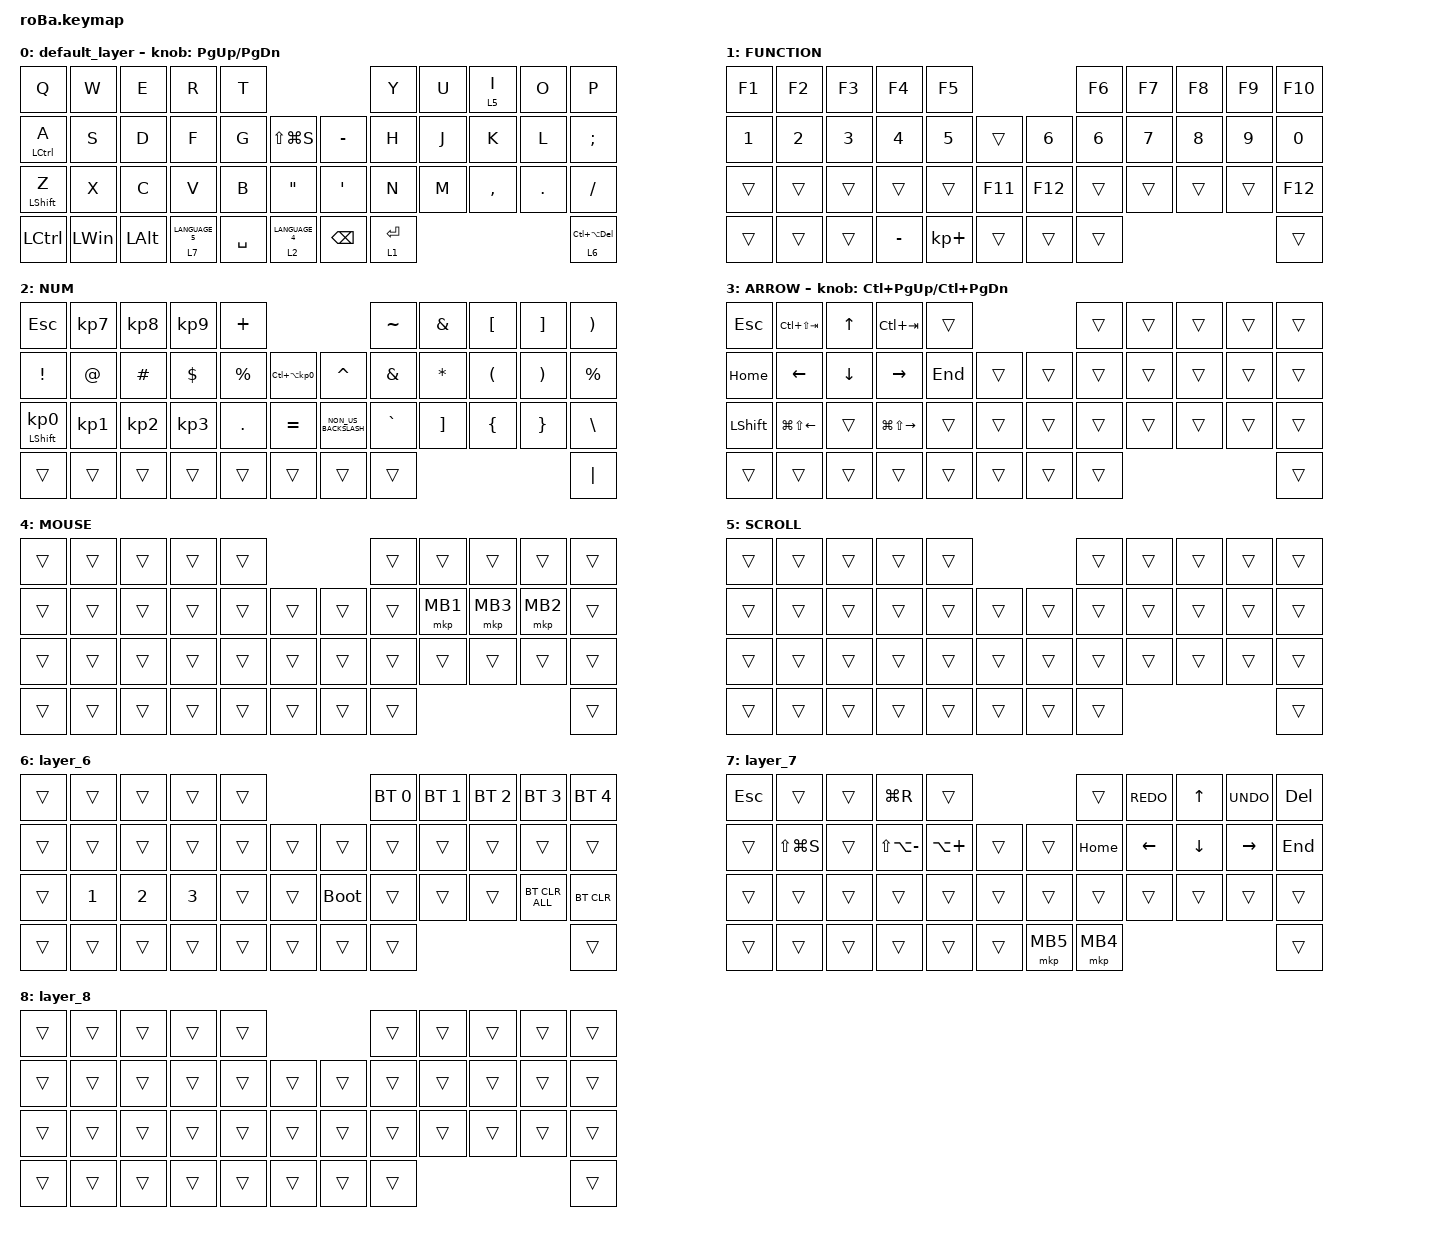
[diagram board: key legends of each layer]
#include <behaviors.dtsi>
#include <dt-bindings/zmk/bt.h>
#include <dt-bindings/zmk/keys.h>
#include <dt-bindings/zmk/pointing.h>

&mt {
    flavor = "balanced";
    quick-tap-ms = <0>;
};

&trackball {
    automouse-layer = <4>;
    scroll-layers = <5>;

    // arrows {
    //     layers = <3>;
    //     bindings =
    //         <&kp RIGHT_ARROW>,
    //         <&kp LEFT_ARROW>,
    //         <&kp UP_ARROW>,
    //         <&kp DOWN_ARROW>;
    //     tick = <10>;
    //     wait-ms = <5>;
    //     tap-ms = <5>;
    // };
};

/ {
    combos {
        compatible = "zmk,combos";

        tab {
            bindings = <&kp TAB>;
            key-positions = <11 12>;
        };

        shift_tab {
            bindings = <&kp LS(TAB)>;
            key-positions = <12 13>;
        };

        muhennkann {
            bindings = <&to_layer_0 INT_MUHENKAN>;
            key-positions = <11 10>;
        };

        double_quotation {
            bindings = <&kp DOUBLE_QUOTES>;
            key-positions = <20 21>;
        };

        eq {
            bindings = <&kp EQUAL>;
            key-positions = <24 25>;
        };

        copy {
            bindings = <&kp LC(C)>;
            key-positions = <4 10>;
        };

        right {
            bindings = <&kp RIGHT_ARROW>;
            key-positions = <10 13>;
        };

        left {
            bindings = <&kp LEFT_ARROW>;
            key-positions = <10 26>;
        };
    };

    macros {
        to_layer_0: to_layer_0 {
            compatible = "zmk,behavior-macro-one-param";
            #binding-cells = <1>;
            bindings = <&to 0 &macro_param_1to1 &kp MACRO_PLACEHOLDER>;
            label = "TO_LAYER_0";
        };
    };

    behaviors {
        lt_to_layer_0: lt_to_layer_0 {
            compatible = "zmk,behavior-hold-tap";
            label = "LAYER_TAP_TO_0";
            bindings = <&mo>, <&to_layer_0>;

            #binding-cells = <2>;
            tapping-term-ms = <200>;
        };
    };

    keymap {
        compatible = "zmk,keymap";

        default_layer {
            bindings = <
&kp Q             &kp W         &kp E         &kp R             &kp T                                            &kp Y        &kp U  &lt 5 I    &kp O    &kp P
&mt LCTRL A       &kp S         &kp D         &kp F             &kp G      &kp LS(LG(S))          &kp MINUS      &kp H        &kp J  &kp K      &kp L    &kp SEMICOLON
&mt LEFT_SHIFT Z  &kp X         &kp C         &kp V             &kp B      &kp DOUBLE_QUOTES      &kp SQT        &kp N        &kp M  &kp COMMA  &kp DOT  &kp SLASH
&kp LCTRL         &kp LEFT_WIN  &kp LEFT_ALT  &lt 7 LANGUAGE_5  &kp SPACE  &lt 2 LANGUAGE_4       &kp BACKSPACE  &lt 1 ENTER                             &lt 6 LC(LA(DELETE))
            >;

            sensor-bindings = <&inc_dec_kp PG_UP PAGE_DOWN>;
        };

        FUNCTION {
            bindings = <
&kp F1        &kp F2        &kp F3        &kp F4        &kp F5                                  &kp F6        &kp F7  &kp F8        &kp F9        &kp F10
&kp NUMBER_1  &kp NUMBER_2  &kp NUMBER_3  &kp NUMBER_4  &kp N5       &trans       &kp NUMBER_6  &kp NUMBER_6  &kp N7  &kp NUMBER_8  &kp NUMBER_9  &kp NUMBER_0
&trans        &trans        &trans        &trans        &trans       &kp F11      &kp F12       &trans        &trans  &trans        &trans        &kp F12
&trans        &trans        &trans        &kp MINUS     &kp KP_PLUS  &trans       &trans        &trans                                            &trans
            >;
        };

        NUM {
            bindings = <
&kp ESCAPE                  &kp KP_NUMBER_7  &kp KP_NUMBER_8  &kp KP_NUMBER_9  &kp PLUS                                                        &kp TILDE      &kp AMPERSAND      &kp LEFT_BRACKET      &kp RIGHT_BRACKET      &kp RIGHT_PARENTHESIS
&kp EXCLAMATION             &kp AT_SIGN      &kp HASH         &kp DOLLAR       &kp PERCENT  &kp LC(LA(KP_NUMBER_0))      &kp CARET             &kp AMPERSAND  &kp ASTERISK       &kp LEFT_PARENTHESIS  &kp RIGHT_PARENTHESIS  &kp PERCENT
&mt LEFT_SHIFT KP_NUMBER_0  &kp KP_NUMBER_1  &kp KP_NUMBER_2  &kp KP_NUMBER_3  &kp PERIOD   &kp EQUAL                    &kp NON_US_BACKSLASH  &kp GRAVE      &kp RIGHT_BRACKET  &kp LEFT_BRACE        &kp RIGHT_BRACE        &kp BACKSLASH
&trans                      &trans           &trans           &trans           &trans       &trans                       &trans                &trans                                                                         &kp PIPE
            >;
        };

        ARROW {
            bindings = <
&kp ESCAPE      &kp LC(LS(TAB))         &kp UP_ARROW    &kp LC(TAB)              &trans                       &trans  &trans  &trans  &trans  &trans
&kp HOME        &kp LEFT_ARROW          &kp DOWN_ARROW  &kp RIGHT_ARROW          &kp END  &trans      &trans  &trans  &trans  &trans  &trans  &trans
&kp LEFT_SHIFT  &kp LG(LS(LEFT_ARROW))  &trans          &kp LG(LS(RIGHT_ARROW))  &trans   &trans      &trans  &trans  &trans  &trans  &trans  &trans
&trans          &trans                  &trans          &trans                   &trans   &trans      &trans  &trans                          &trans
            >;

            sensor-bindings = <&inc_dec_kp LC(PAGE_UP) LC(PAGE_DOWN)>;
        };

        MOUSE {
            bindings = <
&trans  &trans  &trans  &trans  &trans                      &trans  &trans    &trans    &trans    &trans
&trans  &trans  &trans  &trans  &trans  &trans      &trans  &trans  &mkp MB1  &mkp MB3  &mkp MB2  &trans
&trans  &trans  &trans  &trans  &trans  &trans      &trans  &trans  &trans    &trans    &trans    &trans
&trans  &trans  &trans  &trans  &trans  &trans      &trans  &trans                                &trans
            >;
        };

        SCROLL {
            bindings = <
&trans  &trans  &trans  &trans  &trans                      &trans  &trans  &trans  &trans  &trans
&trans  &trans  &trans  &trans  &trans  &trans      &trans  &trans  &trans  &trans  &trans  &trans
&trans  &trans  &trans  &trans  &trans  &trans      &trans  &trans  &trans  &trans  &trans  &trans
&trans  &trans  &trans  &trans  &trans  &trans      &trans  &trans                          &trans
            >;
        };

        layer_6 {
            bindings = <
&trans  &trans        &trans        &trans        &trans                           &bt BT_SEL 0  &bt BT_SEL 1  &bt BT_SEL 2  &bt BT_SEL 3    &bt BT_SEL 4
&trans  &trans        &trans        &trans        &trans  &trans      &trans       &trans        &trans        &trans        &trans          &trans
&trans  &kp NUMBER_1  &kp NUMBER_2  &kp NUMBER_3  &trans  &trans      &bootloader  &trans        &trans        &trans        &bt BT_CLR_ALL  &bt BT_CLR
&trans  &trans        &trans        &trans        &trans  &trans      &trans       &trans                                                    &trans
            >;
        };

        layer_7 {
            bindings = <
&kp ESCAPE  &trans         &trans  &kp LG(R)          &trans                              &trans    &kp K_REDO      &kp UP_ARROW    &kp K_UNDO  &kp DEL
&trans      &kp LS(LG(S))  &trans  &kp LS(LA(MINUS))  &kp LA(PLUS)  &trans      &trans    &kp HOME  &kp LEFT_ARROW  &kp DOWN_ARROW  &kp RIGHT   &kp END
&trans      &trans         &trans  &trans             &trans        &trans      &trans    &trans    &trans          &trans          &trans      &trans
&trans      &trans         &trans  &trans             &trans        &trans      &mkp MB5  &mkp MB4                                              &trans
            >;
        };

        layer_8 {
            bindings = <
&trans  &trans  &trans  &trans  &trans                      &trans  &trans  &trans  &trans  &trans
&trans  &trans  &trans  &trans  &trans  &trans      &trans  &trans  &trans  &trans  &trans  &trans
&trans  &trans  &trans  &trans  &trans  &trans      &trans  &trans  &trans  &trans  &trans  &trans
&trans  &trans  &trans  &trans  &trans  &trans      &trans  &trans                          &trans
            >;
        };
    };
};
